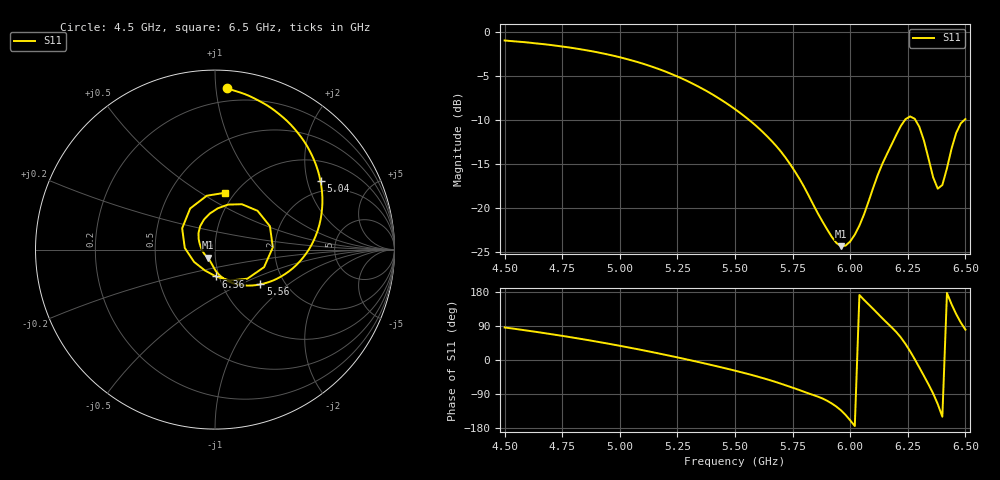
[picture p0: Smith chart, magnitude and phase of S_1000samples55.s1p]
! TOUCHSTONE file generated by CST MICROWAVE STUDIO
! Date and time: Wed Oct 26 20:21:22 2022
! Project name: L.cst
! Parameters = {Di=1.27; Epsilon_r=1.56; InnerDiameter=1.27; Length=2; Lf=10; Lg=60; OuterConductorThickness=0.2921; OuterDiameter=3.6; Wf=3; Wp=41.2; de=1.5; df=6.8; g=0.8; gx=2.87188; gy=3.49399; h=2.34; hf=1.524; px=13.5674; py=13.8993; w=9.7; wx=10.6955; wy=10.4053}
! Header version: 2018
! Port assignment regex: !\s*Touchstone port\s*([0-9]+)\s*=\s*(CST MWS port|CST DS port)\s*([0-9]+|Zmin|Zmax)\s*\(\"(.*)\"\)(\s*mode\s*([0-9]+))?.*
! Touchstone port assignment:
! Touchstone port 1 = CST MWS port 1 ("")
# GHz S DB R 50
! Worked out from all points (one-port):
!   101 points, 4.5 GHz to 6.5 GHz, reference 50 ohm
!   lowest |S11| = -24.3 dB at 5.96 GHz (marker M1), VSWR 1.13, Z = 45.9 - j4.1 ohm
!   |S11| at or under -10 dB: 5.563 GHz to 6.237 GHz (673.9 MHz wide, 11.4 % of centre); 6.284 GHz to 6.494 GHz (210.6 MHz wide, 3.3 % of centre)
!   S11 on the Smith chart (normalised r, x): 4.5 GHz: 0.11, +1.07; 5.04 GHz: 1.62, +2.42; 5.56 GHz: 1.51, -0.65; 6.36 GHz: 0.96, -0.30; 6.5 GHz: 0.90, +0.64
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4.5  -0.91 85.9
4.76  -1.63 62.7
5  -2.82 37.5
5.04  -3.10 32.9
5.16  -4.08 18.4
5.26  -5.13 5.6
5.38  -6.72 -10.7
5.5  -8.73 -28.1
5.56  -9.94 -37.4
5.68  -12.96 -58.7
5.76  -15.83 -75.1
5.9  -22.43 -107.6
5.96  -24.34 -132.8
6  -23.80 -159.2
6.04  -21.99 171.5
6.14  -14.94 109.8
6.18  -12.75 86.2
6.22  -10.64 59.3
6.24  -9.87 42.4
6.26  -9.56 23.1
6.28  -9.83 2.2
6.32  -12.30 -42.0
6.36  -16.49 -88.2
6.38  -17.79 -116.3
6.4  -17.37 -149.7
6.44  -13.23 147.1
6.48  -10.35 98.7
6.5  -9.86 80.1
